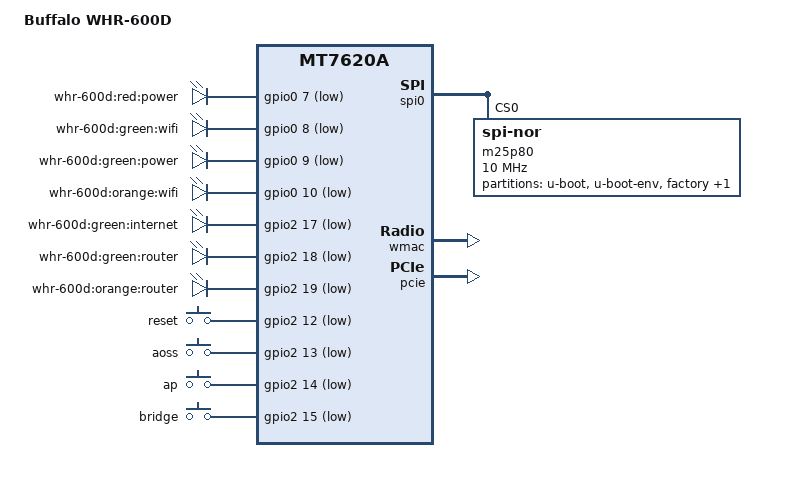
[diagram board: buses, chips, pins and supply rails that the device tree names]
/dts-v1/;

#include "mt7620a.dtsi"

/ {
	compatible = "ralink,mt7620a-soc";
	model = "Buffalo WHR-600D";

	gpio-leds {
		compatible = "gpio-leds";

		power {
			label = "whr-600d:red:power";
			gpios = <&gpio0 7 1>;
		};

		wifi {
			label = "whr-600d:green:wifi";
			gpios = <&gpio0 8 1>;
		};

		power2 {
			label = "whr-600d:green:power";
			gpios = <&gpio0 9 1>;
		};

		wifi2 {
			label = "whr-600d:orange:wifi";
			gpios = <&gpio0 10 1>;
		};

		internet {
			label = "whr-600d:green:internet";
			gpios = <&gpio2 17 1>;
		};

		router {
			label = "whr-600d:green:router";
			gpios = <&gpio2 18 1>;
		};

		router2 {
			label = "whr-600d:orange:router";
			gpios = <&gpio2 19 1>;
		};
	};

	gpio-keys-polled {
		compatible = "gpio-keys-polled";
		#address-cells = <1>;
		#size-cells = <0>;
		poll-interval = <20>;

		reset {
			label = "reset";
			gpios = <&gpio2 12 1>;
			linux,code = <0x198>;
		};

		aoss {
			label = "aoss";
			gpios = <&gpio2 13 1>;
			linux,code = <0x211>;
		};

		ap {
			label = "ap";
			gpios = <&gpio2 14 1>;
			linux,code = <0x100>;
			linux,input-type = <5>; /* EV_SW */
		};

		bridge {
			label = "bridge";
			gpios = <&gpio2 15 1>;
			linux,code = <0x100>;
			linux,input-type = <5>; /* EV_SW */
		};
	};
};

&gpio2 {
	status = "okay";
};

&spi0 {
	status = "okay";

	m25p80@0 {
		#address-cells = <1>;
		#size-cells = <1>;
		compatible = "jedec,spi-nor";
		reg = <0>;
		linux,modalias = "m25p80", "mx25l6405d";
		spi-max-frequency = <10000000>;

		partition@0 {
			label = "u-boot";
			reg = <0x0 0x30000>;
			read-only;
		};

		partition@30000 {
			label = "u-boot-env";
			reg = <0x30000 0x10000>;
			read-only;
		};

		factory: partition@40000 {
			label = "factory";
			reg = <0x40000 0x10000>;
			read-only;
		};

		partition@50000 {
			label = "firmware";
			reg = <0x50000 0x7b0000>;
		};
	};
};

&pinctrl {
	state_default: pinctrl0 {
		gpio {
			ralink,group = "i2c", "uartf", "rgmii1", "rgmii2", "wled", "nd_sd";
			ralink,function = "gpio";
		};
	};
};

&ethernet {
	pinctrl-names = "default";
	pinctrl-0 = <&ephy_pins>;
	mtd-mac-address = <&factory 0x4>;
	mediatek,portmap = "llllw";
};

&gsw {
	mediatek,port4 = "ephy";
};

&wmac {
	ralink,mtd-eeprom = <&factory 0>;
};

&pcie {
	status = "okay";
};
